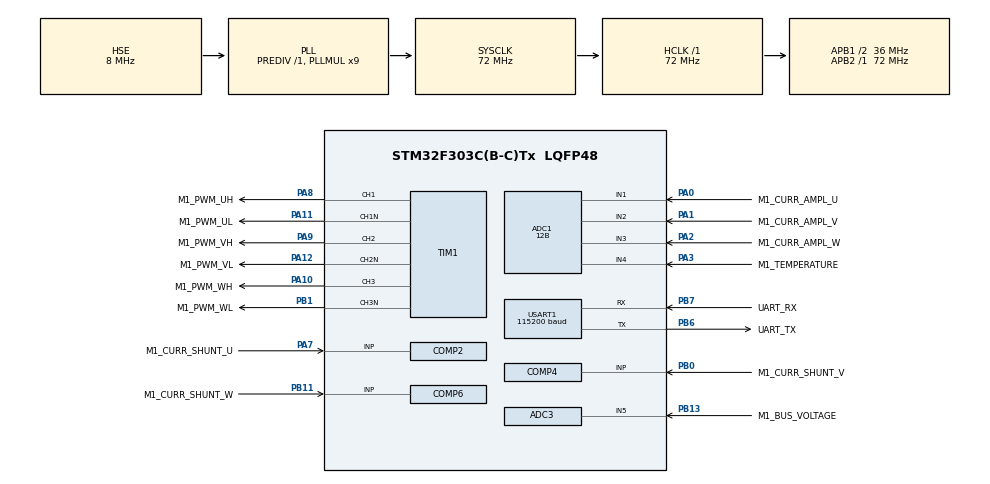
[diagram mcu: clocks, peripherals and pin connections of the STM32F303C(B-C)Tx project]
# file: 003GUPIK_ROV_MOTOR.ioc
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ADC1.Channel-1\#ChannelRegularConversion=ADC_CHANNEL_4
ADC1.ClockPrescaler=ADC_CLOCK_SYNC_PCLK_DIV1
ADC1.ContinuousConvMode=DISABLE
ADC1.DMAContinuousRequests=DISABLE
ADC1.DataAlign=ADC_DATAALIGN_LEFT
ADC1.DiscontinuousConvMode=DISABLE
ADC1.EOCSelection=ADC_EOC_SINGLE_CONV
ADC1.EnableAnalogWatchDog1=false
ADC1.EnableAnalogWatchDog2=false
ADC1.EnableAnalogWatchDog3=false
ADC1.EnableInjectedConversion=ENABLE
ADC1.EnableRegularConversion=ENABLE
ADC1.ExternalTrigConv=ADC_SOFTWARE_START
ADC1.ExternalTrigConvEdge=ADC_EXTERNALTRIGCONVEDGE_NONE
ADC1.ExternalTrigInjecConv=ADC_EXTERNALTRIGINJECCONV_T1_TRGO
ADC1.ExternalTrigInjecConvEdge=ADC_EXTERNALTRIGINJECCONV_EDGE_RISING
ADC1.InjNumberOfConversion=3
ADC1.InjectedChannel-1\#ChannelInjectedConversion=ADC_CHANNEL_1
ADC1.InjectedChannel-2\#ChannelInjectedConversion=ADC_CHANNEL_2
ADC1.InjectedChannel-3\#ChannelInjectedConversion=ADC_CHANNEL_3
ADC1.InjectedConvMode=None
ADC1.InjectedOffset-1\#ChannelInjectedConversion=0
ADC1.InjectedOffset-2\#ChannelInjectedConversion=0
ADC1.InjectedOffset-3\#ChannelInjectedConversion=0
ADC1.InjectedOffsetNumber-1\#ChannelInjectedConversion=ADC_OFFSET_NONE
ADC1.InjectedOffsetNumber-2\#ChannelInjectedConversion=ADC_OFFSET_NONE
ADC1.InjectedOffsetNumber-3\#ChannelInjectedConversion=ADC_OFFSET_NONE
ADC1.InjectedRank-1\#ChannelInjectedConversion=1
ADC1.InjectedRank-2\#ChannelInjectedConversion=2
ADC1.InjectedRank-3\#ChannelInjectedConversion=3
ADC1.InjectedSamplingTime-1\#ChannelInjectedConversion=ADC_SAMPLETIME_7CYCLES_5
ADC1.InjectedSamplingTime-2\#ChannelInjectedConversion=ADC_SAMPLETIME_7CYCLES_5
ADC1.InjectedSamplingTime-3\#ChannelInjectedConversion=ADC_SAMPLETIME_7CYCLES_5
ADC1.LowPowerAutoWait=DISABLE
ADC1.NbrOfConversion=1
ADC1.NbrOfConversionFlag=1
ADC1.Offset-1\#ChannelRegularConversion=0
ADC1.OffsetNumber-1\#ChannelRegularConversion=ADC_OFFSET_NONE
ADC1.Overrun=ADC_OVR_DATA_PRESERVED
ADC1.QueueInjectedContext=ENABLE
ADC1.Rank-1\#ChannelRegularConversion=1
ADC1.Resolution=ADC_RESOLUTION_12B
ADC1.SamplingTime-1\#ChannelRegularConversion=ADC_SAMPLETIME_19CYCLES_5
ADC1.ScanConvMode=ADC_SCAN_ENABLE
ADC1.master=1
ADC3.Channel-1\#ChannelRegularConversion=ADC_CHANNEL_5
ADC3.ClockPrescaler=ADC_CLOCK_SYNC_PCLK_DIV1
ADC3.ContinuousConvMode=DISABLE
ADC3.DMAContinuousRequests=DISABLE
ADC3.DataAlign=ADC_DATAALIGN_LEFT
ADC3.DiscontinuousConvMode=DISABLE
ADC3.EOCSelection=ADC_EOC_SINGLE_CONV
ADC3.EnableAnalogWatchDog1=false
ADC3.EnableAnalogWatchDog2=false
ADC3.EnableAnalogWatchDog3=false
ADC3.EnableRegularConversion=ENABLE
ADC3.ExternalTrigConv=ADC_SOFTWARE_START
ADC3.ExternalTrigConvEdge=ADC_EXTERNALTRIGCONVEDGE_NONE
ADC3.LowPowerAutoWait=DISABLE
ADC3.NbrOfConversion=1
ADC3.NbrOfConversionFlag=1
ADC3.Offset-1\#ChannelRegularConversion=0
ADC3.OffsetNumber-1\#ChannelRegularConversion=ADC_OFFSET_NONE
ADC3.Overrun=ADC_OVR_DATA_PRESERVED
ADC3.Rank-1\#ChannelRegularConversion=1
ADC3.Resolution=ADC_RESOLUTION_12B
ADC3.SamplingTime-1\#ChannelRegularConversion=ADC_SAMPLETIME_19CYCLES_5
ADC3.ScanConvMode=ADC_SCAN_DISABLE
ADC3.master=1
COMP2.InvertingInput=COMP_INVERTINGINPUT_1_2VREFINT
COMP2.Output=COMP_OUTPUT_TIM1BKIN2
COMP4.InvertingInput=COMP_INVERTINGINPUT_1_2VREFINT
COMP4.Output=COMP_OUTPUT_TIM1BKIN2
COMP6.InvertingInput=COMP_INVERTINGINPUT_1_2VREFINT
COMP6.Output=COMP_OUTPUT_TIM1BKIN2
ExtraMW=MotorControl
ExtraMW.MotorControl.Config=MotorControl
ExtraMW.MotorControl.Mode=MotorControl
ExtraMW.MotorControl.Root=MCSDK_v5.4.3/MotorControl
ExtraMW.MotorControl.Template=templates
Mcu.Family=STM32F3
Mcu.Name=STM32F303C(B-C)Tx
Mcu.Package=LQFP48
MotorControl.ADC_1_PERIPH=ADC1
MotorControl.ADC_2_PERIPH=ADC2
MotorControl.ADC_AHBPERIPH=RCC_AHBPeriph_ADC12
MotorControl.ADC_CLOCK_WB_DIV=1
MotorControl.ADC_CLOCK_WB_FREQ=72
MotorControl.ADC_PERIPH=ADC1
MotorControl.ADC_REFERENCE_VOLTAGE=3.30
MotorControl.ALIGNMENT_ANGLE_DEG=90
MotorControl.ALIGNMENT_DURATION=700
MotorControl.AMPLIFICATION_GAIN=4.39
MotorControl.ANGC={0,0,0,0,0,0,0,0}
MotorControl.BEMF_CONSISTENCY_GAIN=64
MotorControl.BEMF_CONSISTENCY_TOL=64
MotorControl.BKIN1_FILTER=0
MotorControl.BKIN2_FILTER=3
MotorControl.BKIN2_MODE=INT_MODE
MotorControl.BKIN_MODE=NONE
MotorControl.BOARD=STEVAL-ESC001V1
MotorControl.BRKIN2_GPIO_AF=GPIO_AF_2
MotorControl.BRKIN_GPIO_AF=GPIO_AF_12
MotorControl.BUS_VOLTAGE_READING=true
MotorControl.CCMRAM_ENABLED=false
MotorControl.CLOCK_FREQUENCY=CPU_CLK_72_MHZ
MotorControl.CLOCK_SOURCE=EXTERNAL
MotorControl.CONSTANT1_D=99880
MotorControl.CONSTANT1_Q=99880
MotorControl.CONSTANT2_QD=15364
MotorControl.CORD_BEMF_CONSISTENCY_GAIN=64
MotorControl.CORD_BEMF_CONSISTENCY_TOL=64
MotorControl.CORD_F1=16384
MotorControl.CORD_F2=8192
MotorControl.CORD_FIFO_DEPTH_01HZ=64
MotorControl.CORD_FIFO_DEPTH_DPP=64
MotorControl.CORD_GAIN1=-21521
MotorControl.CORD_GAIN2=23711
MotorControl.CORD_MAX_ACCEL_DPPP=103
MotorControl.CORD_MEAS_ERRORS_BEFORE_FAULTS=3
MotorControl.CORD_VARIANCE_THRESHOLD=4
MotorControl.CPU_CLK_72_MHZ=true
MotorControl.CTRBDID=10013
MotorControl.CUBE_MX_VER=5.5.0
MotorControl.CURRENT_READING_TOPOLOGY=THREE_SHUNT
MotorControl.CURR_SAMPLING_TIME=7
MotorControl.DAC_EMULATED=false
MotorControl.DAC_FUNCTIONALITY=false
MotorControl.DAC_TIMER_CH1_GPIO_PIN=LL_GPIO_PIN_0
MotorControl.DAC_TIMER_CH1_GPIO_PORT=GPIOA
MotorControl.DAC_TIMER_CH2_GPIO_PIN=LL_GPIO_PIN_0
MotorControl.DAC_TIMER_CH2_GPIO_PORT=GPIOA
MotorControl.DAC_TIMER_SELECTION=TIM3
MotorControl.DC_CURRENT_RS_MEAS=5.00
MotorControl.DEBUG_DAC_CH1=false
MotorControl.DEBUG_DAC_CH2=false
MotorControl.DEFAULT_CONTROL_MODE=STC_SPEED_MODE
MotorControl.DEFAULT_DAC_CHANNEL_1=MC_PROTOCOL_REG_DAC_USER1
MotorControl.DEFAULT_DAC_CHANNEL_2=MC_PROTOCOL_REG_I_B
MotorControl.DEFAULT_DAC_MOTOR=0
MotorControl.DEFAULT_FLUX_COMPONENT=0
MotorControl.DEFAULT_TARGET_SPEED_RPM=1334
MotorControl.DEFAULT_TORQUE_COMPONENT=0
MotorControl.DISSIPATIVE_BRAKE_POLARITY=DOUT_ACTIVE_HIGH
MotorControl.DRIVES_NUMBER_SELECTION=SINGLEDRIVE
MotorControl.EMERGENCY2_STOP_GPIO_PIN=LL_GPIO_PIN_11
MotorControl.EMERGENCY2_STOP_GPIO_PORT=GPIOA
MotorControl.EMERGENCY_STOP_GPIO_PIN=LL_GPIO_PIN_11
MotorControl.EMERGENCY_STOP_GPIO_PORT=GPIOA
MotorControl.ENABLE_SL_ALGO_FROM_PHASE=2
MotorControl.ENCODER_AVAILABLE=false
MotorControl.ENCODER_PPR=400
MotorControl.ENC_AVERAGING_FIFO_DEPTH=16
MotorControl.ENC_A_GPIO_PIN=LL_GPIO_PIN_0
MotorControl.ENC_A_GPIO_PORT=GPIOA
MotorControl.ENC_B_GPIO_PIN=LL_GPIO_PIN_1
MotorControl.ENC_B_GPIO_PORT=GPIOA
MotorControl.ENC_ICx_FILTER=50
MotorControl.ENC_INVERT_SPEED=false
MotorControl.ENC_MEAS_ERRORS_BEFORE_FAULTS=3
MotorControl.ENC_TIMER_REMAPPING=NO_REMAP_TIM2
MotorControl.ENC_TIMER_SELECTION=ENC_TIM2
MotorControl.ENC_USE_CH3=false
MotorControl.EXT_CLK_8_MHZ=true
MotorControl.EXT_CLOCK_FREQUENCY=EXT_CLK_8_MHZ
MotorControl.F1=16384
MotorControl.F2=8192
MotorControl.FEEDBACK_NET_FILTERING=false
MotorControl.FEED_FORWARD_CURRENT_REG_ENABLING=false
MotorControl.FINAL_I_ALIGNMENT=1700
MotorControl.FLUX_WEAKENING_ENABLING=false
MotorControl.FW_KIDIV=32768
MotorControl.FW_KI_GAIN=5000
MotorControl.FW_KPDIV=32768
MotorControl.FW_KP_GAIN=3000
MotorControl.FW_VOLTAGE_REF=985
MotorControl.GAIN1=-21521
MotorControl.GAIN2=23711
MotorControl.H1_GPIO_PIN=LL_GPIO_PIN_0
MotorControl.H1_GPIO_PORT=GPIOA
MotorControl.H2_GPIO_PIN=LL_GPIO_PIN_1
MotorControl.H2_GPIO_PORT=GPIOA
MotorControl.H3_GPIO_PIN=LL_GPIO_PIN_2
MotorControl.H3_GPIO_PORT=GPIOA
MotorControl.HALL_AVERAGING_FIFO_DEPTH=6
MotorControl.HALL_ICx_FILTER=94
MotorControl.HALL_MEAS_ERRORS_BEFORE_FAULTS=3
MotorControl.HALL_MTPA=false
MotorControl.HALL_PHASE_SHIFT=300
MotorControl.HALL_SENSORS_AVAILABLE=false
MotorControl.HALL_SENSORS_PLACEMENT=DEGREES_120
MotorControl.HALL_TIMER_REMAPPING=NO_REMAP_TIM2
MotorControl.HALL_TIMER_SELECTION=HALL_TIM2
MotorControl.HFI_AMPLITUDE=25
MotorControl.HFI_DC_0_COEFF=0.00146
MotorControl.HFI_DC_1_COEFF=0.002921
MotorControl.HFI_DC_2_COEFF=0.00146
MotorControl.HFI_DC_3_COEFF=1.889033
MotorControl.HFI_DC_4_COEFF=-0.894874
MotorControl.HFI_DEBUG_MODE=false
MotorControl.HFI_FREQUENCY=400
MotorControl.HFI_HIFRAMPLSCAN=25
MotorControl.HFI_HP_ID_0_COEFF=0.920407
MotorControl.HFI_HP_ID_1_COEFF=-1.840814
MotorControl.HFI_HP_ID_2_COEFF=0.920407
MotorControl.HFI_HP_ID_3_COEFF=1.834469
MotorControl.HFI_HP_ID_4_COEFF=-0.847159
MotorControl.HFI_IDH_DELAY=32400
MotorControl.HFI_LOCKFREQ=44
MotorControl.HFI_LP_ID_0_COEFF=0.010248
MotorControl.HFI_LP_ID_1_COEFF=0.020497
MotorControl.HFI_LP_ID_2_COEFF=0.010248
MotorControl.HFI_LP_ID_3_COEFF=1.693906
MotorControl.HFI_LP_ID_4_COEFF=-0.734899
MotorControl.HFI_MAXANGLEDIFF=3640
MotorControl.HFI_MINIMUM_SPEED_RPM=402
MotorControl.HFI_NOTCH_IQD_0_COEFF=0.959976
MotorControl.HFI_NOTCH_IQD_1_COEFF=-1.893066
MotorControl.HFI_NOTCH_IQD_2_COEFF=0.959976
MotorControl.HFI_NOTCH_IQD_3_COEFF=1.893066
MotorControl.HFI_NOTCH_IQD_4_COEFF=-0.919953
MotorControl.HFI_NSDETPOINTSSKIP=10
MotorControl.HFI_NSMAXDETPOINTS=20
MotorControl.HFI_NS_MIN_SAT_DIFF=0
MotorControl.HFI_PID_KIDIV=32768
MotorControl.HFI_PID_KI_DEFAULT=400
MotorControl.HFI_PID_KPDIV=16384
MotorControl.HFI_PID_KP_DEFAULT=800
MotorControl.HFI_PLL_KI_DEFAULT=0.00400
MotorControl.HFI_PLL_KP_DEFAULT=0.00060
MotorControl.HFI_RESTARTTIMESEC=0.1
MotorControl.HFI_RESTART_RPM_TH=(((HFI_STO_RPM_TH)+(STO_HFI_RPM_TH))/2)
MotorControl.HFI_REVERT_DIRECTION=true
MotorControl.HFI_SCANROTATIONSNO=3
MotorControl.HFI_SPD_BUFFER_DEPTH_01HZ=64
MotorControl.HFI_STEPANGLE=3640
MotorControl.HFI_STO_RPM_TH=OBS_MINIMUM_SPEED_RPM
MotorControl.HFI_WAITAFTERNS2=4
MotorControl.HFI_WAITBEFORESN=6
MotorControl.HFI_WAITSYNCH=20
MotorControl.HFI_WAITTRACK=20
MotorControl.HIGH_SIDE_BRAKE_STATE=false
MotorControl.HIGH_SIDE_IDLE_STATE=false
MotorControl.HW_COMPLEMENTED_LOW_SIDE=false
MotorControl.HW_DEAD_TIME_NS=500
MotorControl.HW_OV_CURRENT_PROT_BYPASS=false
MotorControl.ID_DEMAG=-4359
MotorControl.INRUSH_CURRLIMIT_AT_POWER_ON=true
MotorControl.INRUSH_CURRLIMIT_CHANGE_AFTER_MS=1000
MotorControl.INRUSH_CURRLIMIT_ENABLING=false
MotorControl.INRUSH_CURRLIMIT_GPIO_PIN=LL_GPIO_PIN_4
MotorControl.INRUSH_CURRLIMIT_GPIO_PORT=GPIOD
MotorControl.INRUSH_CURR_LIMITER_POLARITY=DOUT_ACTIVE_HIGH
MotorControl.INTERNAL_OVERCURRENTPROTECTION=true
MotorControl.INTERNAL_OVERVOLTAGEPROTECTION=false
MotorControl.IQMAX=4359
MotorControl.LCD_JOYSTICK_FUNCTIONALITY=false
MotorControl.LCD_MODE=LCD_FULL
MotorControl.LDLQ_RATIO=1.000
MotorControl.LOW_SIDE_BRAKE_STATE=false
MotorControl.LOW_SIDE_IDLE_STATE=false
MotorControl.LOW_SIDE_SIGNALS_ENABLING=LS_PWM_TIMER
MotorControl.LS=0.000059
MotorControl.MAX_APPLICATION_SPEED=3588
MotorControl.MAX_MODULATION_95_PER_CENT=true
MotorControl.MAX_MODULATION_INDEX=MAX_MODULATION_95_PER_CENT
MotorControl.MCU=STM32F303CB
MotorControl.MCU_TYPE=STM32F303xB
MotorControl.MC_WORKBENCH_VERSION=5.4.3.19514
MotorControl.MEAS_ERRORS_BEFORE_FAULTS=3
MotorControl.MIN_APPLICATION_SPEED=0
MotorControl.MOTOR_MAX_SPEED_RPM=3588
MotorControl.MOTOR_TYPE=PMSM
MotorControl.MOTOR_VOLTAGE_CONSTANT=2.1
MotorControl.MTPA_ENABLING=false
MotorControl.NB_CONSECUTIVE_TESTS=2
MotorControl.NOMINAL_BUS_VOLTAGE_V=11
MotorControl.NOMINAL_CURRENT=4359
MotorControl.OBS_MEAS_ERRORS_BEFORE_FAULTS=3
MotorControl.OBS_MINIMUM_SPEED_RPM=1334
MotorControl.OCPA_INVERTINGINPUT=COMPX_InvertingInput_VREF_1_2
MotorControl.OCPA_INVERTINGINPUT_GPIO_PIN=LL_GPIO_PIN_4
MotorControl.OCPA_INVERTINGINPUT_GPIO_PORT=GPIOA
MotorControl.OCPA_INVERTINGINPUT_MODE=INT_MODE
MotorControl.OCPA_NONINVERTINGINPUT=COMP2_NonInvertingInput_PA7
MotorControl.OCPA_NONINVERTINGINPUT_GPIO_PIN=LL_GPIO_PIN_7
MotorControl.OCPA_NONINVERTINGINPUT_GPIO_PORT=GPIOA
MotorControl.OCPA_OUTPUT=COMP_Output_TIM1BKIN2
MotorControl.OCPA_OUTPUTPOL=COMP_OutputPol_NonInverted
MotorControl.OCPA_OUTPUT_GPIO_AF=GPIO_AF_8
MotorControl.OCPA_OUTPUT_GPIO_PIN=LL_GPIO_PIN_2
MotorControl.OCPA_OUTPUT_GPIO_PORT=GPIOA
MotorControl.OCPA_OUTPUT_MODE=INT_MODE
MotorControl.OCPA_SELECTION=COMP2
MotorControl.OCPB_INVERTINGINPUT=COMPX_InvertingInput_VREF_1_2
MotorControl.OCPB_INVERTINGINPUT_GPIO_PIN=LL_GPIO_PIN_4
MotorControl.OCPB_INVERTINGINPUT_GPIO_PORT=GPIOA
MotorControl.OCPB_INVERTINGINPUT_MODE=INT_MODE
MotorControl.OCPB_NONINVERTINGINPUT=COMP4_NonInvertingInput_PB0
MotorControl.OCPB_NONINVERTINGINPUT_GPIO_PIN=LL_GPIO_PIN_0
MotorControl.OCPB_NONINVERTINGINPUT_GPIO_PORT=GPIOB
MotorControl.OCPB_OUTPUT=COMP_Output_TIM1BKIN2
MotorControl.OCPB_OUTPUTPOL=COMP_OutputPol_NonInverted
MotorControl.OCPB_OUTPUT_GPIO_AF=GPIO_AF_8
MotorControl.OCPB_OUTPUT_GPIO_PIN=LL_GPIO_PIN_1
MotorControl.OCPB_OUTPUT_GPIO_PORT=GPIOB
MotorControl.OCPB_OUTPUT_MODE=INT_MODE
MotorControl.OCPB_SELECTION=COMP4
MotorControl.OCPC_INVERTINGINPUT=COMPX_InvertingInput_VREF_1_2
MotorControl.OCPC_INVERTINGINPUT_GPIO_PIN=LL_GPIO_PIN_4
MotorControl.OCPC_INVERTINGINPUT_GPIO_PORT=GPIOA
MotorControl.OCPC_INVERTINGINPUT_MODE=INT_MODE
MotorControl.OCPC_NONINVERTINGINPUT=COMP6_NonInvertingInput_PB11
MotorControl.OCPC_NONINVERTINGINPUT_GPIO_PIN=LL_GPIO_PIN_11
MotorControl.OCPC_NONINVERTINGINPUT_GPIO_PORT=GPIOB
MotorControl.OCPC_OUTPUT=COMP_Output_TIM1BKIN2
MotorControl.OCPC_OUTPUTPOL=COMP_OutputPol_NonInverted
MotorControl.OCPC_OUTPUT_GPIO_AF=GPIO_AF_8
MotorControl.OCPC_OUTPUT_GPIO_PIN=LL_GPIO_PIN_10
MotorControl.OCPC_OUTPUT_GPIO_PORT=GPIOA
MotorControl.OCPC_OUTPUT_MODE=INT_MODE
MotorControl.OCPC_SELECTION=COMP6
MotorControl.OCPREF=11915
MotorControl.OCP_COMP_THRESHOLD=0.50
MotorControl.OCP_FILTER=COMP_Mode_HighSpeed
MotorControl.OCP_INVERTINGINPUT=COMPX_InvertingInput_VREF_1_2
MotorControl.OCP_INVERTINGINPUT_GPIO_PIN=LL_GPIO_PIN_4
MotorControl.OCP_INVERTINGINPUT_GPIO_PORT=GPIOA
MotorControl.OCP_INVERTINGINPUT_MODE=INT_MODE
MotorControl.OCP_NONINVERTINGINPUT=COMP2_NonInvertingInput_PA7
MotorControl.OCP_NONINVERTINGINPUT_GPIO_PIN=LL_GPIO_PIN_7
MotorControl.OCP_NONINVERTINGINPUT_GPIO_PORT=GPIOA
MotorControl.OCP_OUTPUT=COMP_Output_TIM1BKIN2
MotorControl.OCP_OUTPUTPOL=COMP_OutputPol_NonInverted
MotorControl.OCP_OUTPUT_GPIO_AF=GPIO_AF_8
MotorControl.OCP_OUTPUT_GPIO_PIN=LL_GPIO_PIN_2
MotorControl.OCP_OUTPUT_GPIO_PORT=GPIOA
MotorControl.OCP_OUTPUT_MODE=INT_MODE
MotorControl.OCP_SELECTION=COMP2
MotorControl.OFST={0,0,0,0,0,0,0,0}
MotorControl.ON_OVER_VOLTAGE=TURN_OFF_PWM
MotorControl.OPAMP1_INVERTINGINPUT=OPAMP1_InvertingInput_PA3
MotorControl.OPAMP1_INVERTINGINPUT_GPIO_PIN=LL_GPIO_PIN_3
MotorControl.OPAMP1_INVERTINGINPUT_GPIO_PORT=GPIOA
MotorControl.OPAMP1_INVERTINGINPUT_MODE=EXT_MODE
MotorControl.OPAMP1_NONINVERTINGINPUT_PHA=OPAMP1_NonInvertingInput_PA1
MotorControl.OPAMP1_NONINVERTINGINPUT_PHA_GPIO_PIN=LL_GPIO_PIN_1
MotorControl.OPAMP1_NONINVERTINGINPUT_PHA_GPIO_PORT=GPIOA
MotorControl.OPAMP1_NONINVERTINGINPUT_PHB=OPAMP1_NonInvertingInput_PA7
MotorControl.OPAMP1_NONINVERTINGINPUT_PHB_GPIO_PIN=LL_GPIO_PIN_7
MotorControl.OPAMP1_NONINVERTINGINPUT_PHB_GPIO_PORT=GPIOA
MotorControl.OPAMP1_OUT_GPIO_PIN=LL_GPIO_PIN_2
MotorControl.OPAMP1_OUT_GPIO_PORT=GPIOA
MotorControl.OPAMP1_SELECTION=OPAMP1
MotorControl.OPAMP2_INVERTINGINPUT=OPAMP2_InvertingInput_PA5
MotorControl.OPAMP2_INVERTINGINPUT_GPIO_PIN=LL_GPIO_PIN_5
MotorControl.OPAMP2_INVERTINGINPUT_GPIO_PORT=GPIOA
MotorControl.OPAMP2_INVERTINGINPUT_MODE=EXT_MODE
MotorControl.OPAMP2_NONINVERTINGINPUT_PHA=OPAMP2_NonInvertingInput_PB0
MotorControl.OPAMP2_NONINVERTINGINPUT_PHA_GPIO_PIN=LL_GPIO_PIN_0
MotorControl.OPAMP2_NONINVERTINGINPUT_PHA_GPIO_PORT=GPIOB
MotorControl.OPAMP2_NONINVERTINGINPUT_PHB=OPAMP2_NonInvertingInput_PA7
MotorControl.OPAMP2_NONINVERTINGINPUT_PHB_GPIO_PIN=LL_GPIO_PIN_7
MotorControl.OPAMP2_NONINVERTINGINPUT_PHB_GPIO_PORT=GPIOA
MotorControl.OPAMP2_NONINVERTINGINPUT_PHC=OPAMP2_NonInvertingInput_PB0
MotorControl.OPAMP2_NONINVERTINGINPUT_PHC_GPIO_PIN=LL_GPIO_PIN_0
MotorControl.OPAMP2_NONINVERTINGINPUT_PHC_GPIO_PORT=GPIOB
MotorControl.OPAMP2_OUT_GPIO_PIN=LL_GPIO_PIN_6
MotorControl.OPAMP2_OUT_GPIO_PORT=GPIOA
MotorControl.OPAMP2_SELECTION=OPAMP2
MotorControl.OPAMP3_INVERTINGINPUT=OPAMP1_InvertingInput_PA0
MotorControl.OPAMP3_INVERTINGINPUT_GPIO_PIN=LL_GPIO_PIN_0
MotorControl.OPAMP3_INVERTINGINPUT_GPIO_PORT=GPIOA
MotorControl.OPAMP3_INVERTINGINPUT_MODE=EXT_MODE
MotorControl.OPAMP3_SELECTION=OPAMP1
MotorControl.OPAMP_INVERTINGINPUT=OPAMP1_InvertingInput_PA3
MotorControl.OPAMP_INVERTINGINPUT_GPIO_PIN=LL_GPIO_PIN_3
MotorControl.OPAMP_INVERTINGINPUT_GPIO_PORT=GPIOA
MotorControl.OPAMP_INVERTINGINPUT_MODE=EXT_MODE
MotorControl.OPAMP_NONINVERTINGINPUT=OPAMP1_NonInvertingInput_PA7
MotorControl.OPAMP_NONINVERTINGINPUT_GPIO_PIN=LL_GPIO_PIN_7
MotorControl.OPAMP_NONINVERTINGINPUT_GPIO_PORT=GPIOA
MotorControl.OPAMP_OUT_GPIO_PIN=LL_GPIO_PIN_2
MotorControl.OPAMP_OUT_GPIO_PORT=GPIOA
MotorControl.OPAMP_PGACONNECT=OPAMP1_PGAConnect_PA3
MotorControl.OPAMP_PGAGAIN=OPAMP_OPAMP_PGAGain_2
MotorControl.OPAMP_SELECTION=OPAMP1
MotorControl.OPAMP_TYPE_GAIN=EXTERNAL
MotorControl.OPEN_LOOP_FOC=false
MotorControl.OPEN_LOOP_K=44
MotorControl.OPEN_LOOP_OFF=4400
MotorControl.OPEN_LOOP_SPEED_RAMP_DURATION_MS=1000
MotorControl.OPEN_LOOP_SPEED_RPM=100
MotorControl.OPEN_LOOP_VF=false
MotorControl.OPEN_LOOP_VOLTAGE_d=6000
MotorControl.OVERCURR_FEEDBACK_POLARITY=EMSTOP2_ACTIVE_LOW
MotorControl.OVERCURR_PROTECTION_HW_DISABLING=DOUT_ACTIVE_HIGH
MotorControl.OVPREF=23830
MotorControl.OVP_FILTER=COMP_Mode_HighSpeed
MotorControl.OVP_INVERTINGINPUT=COMPX_InvertingInput_VREF
MotorControl.OVP_INVERTINGINPUT_GPIO_PIN=LL_GPIO_PIN_4
MotorControl.OVP_INVERTINGINPUT_GPIO_PORT=GPIOA
MotorControl.OVP_INVERTINGINPUT_MODE=INT_MODE
MotorControl.OVP_NONINVERTINGINPUT=COMP2_NonInvertingInput_PA7
MotorControl.OVP_NONINVERTINGINPUT_GPIO_PIN=LL_GPIO_PIN_7
MotorControl.OVP_NONINVERTINGINPUT_GPIO_PORT=GPIOA
MotorControl.OVP_OUTPUT=COMP_Output_TIM1BKIN
MotorControl.OVP_OUTPUTPOL=COMP_OutputPol_NonInverted
MotorControl.OVP_OUTPUT_GPIO_AF=GPIO_AF_8
MotorControl.OVP_OUTPUT_GPIO_PIN=LL_GPIO_PIN_2
MotorControl.OVP_OUTPUT_GPIO_PORT=GPIOA
MotorControl.OVP_OUTPUT_MODE=INT_MODE
MotorControl.OVP_SELECTION=COMP2
MotorControl.OV_CURR_BYPASS_GPIO_PIN=LL_GPIO_PIN_5
MotorControl.OV_CURR_BYPASS_GPIO_PORT=GPIOD
MotorControl.OV_TEMPERATURE_HYSTERESIS_C=10
MotorControl.OV_TEMPERATURE_PROT_ENABLING=true
MotorControl.OV_TEMPERATURE_THRESHOLD_C=110
MotorControl.OV_VOLTAGE_PROT_ENABLING=true
MotorControl.OV_VOLTAGE_THRESHOLD_V=22
MotorControl.PHASE1_DURATION=1000
MotorControl.PHASE1_FINAL_CURRENT=2179
MotorControl.PHASE1_FINAL_SPEED_RPM=0
MotorControl.PHASE2_DURATION=2964
MotorControl.PHASE2_FINAL_CURRENT=4359
MotorControl.PHASE2_FINAL_SPEED_RPM=1482
MotorControl.PHASE3_DURATION=0
MotorControl.PHASE3_FINAL_CURRENT=4359
MotorControl.PHASE3_FINAL_SPEED_RPM=1482
MotorControl.PHASE4_DURATION=0
MotorControl.PHASE4_FINAL_CURRENT=4359
MotorControl.PHASE4_FINAL_SPEED_RPM=1482
MotorControl.PHASE5_DURATION=0
MotorControl.PHASE5_FINAL_CURRENT=4359
MotorControl.PHASE5_FINAL_SPEED_RPM=1482
MotorControl.PHASE_CURRENTS_ADC=ADC1_2
MotorControl.PHASE_CURRENTS_CHANNEL=ADC_CHANNEL_9
MotorControl.PHASE_CURRENTS_GPIO_PIN=LL_GPIO_PIN_3
MotorControl.PHASE_CURRENTS_GPIO_PORT=GPIOC
MotorControl.PHASE_UH_GPIO_AF=GPIO_AF_6
MotorControl.PHASE_UH_GPIO_PIN=LL_GPIO_PIN_8
MotorControl.PHASE_UH_GPIO_PORT=GPIOA
MotorControl.PHASE_UH_POLARITY=H_ACTIVE_HIGH
MotorControl.PHASE_UL_GPIO_AF=GPIO_AF_6
MotorControl.PHASE_UL_GPIO_PIN=LL_GPIO_PIN_11
MotorControl.PHASE_UL_GPIO_PORT=GPIOA
MotorControl.PHASE_UL_POLARITY=L_ACTIVE_LOW
MotorControl.PHASE_U_CURR_ADC=ADC1
MotorControl.PHASE_U_CURR_CHANNEL=ADC_CHANNEL_1
MotorControl.PHASE_U_GPIO_PIN=LL_GPIO_PIN_0
MotorControl.PHASE_U_GPIO_PORT=GPIOA
MotorControl.PHASE_VH_GPIO_AF=GPIO_AF_6
MotorControl.PHASE_VH_GPIO_PIN=LL_GPIO_PIN_9
MotorControl.PHASE_VH_GPIO_PORT=GPIOA
MotorControl.PHASE_VH_POLARITY=H_ACTIVE_HIGH
MotorControl.PHASE_VL_GPIO_AF=GPIO_AF_6
MotorControl.PHASE_VL_GPIO_PIN=LL_GPIO_PIN_12
MotorControl.PHASE_VL_GPIO_PORT=GPIOA
MotorControl.PHASE_VL_POLARITY=L_ACTIVE_LOW
MotorControl.PHASE_V_CURR_ADC=ADC1
MotorControl.PHASE_V_CURR_CHANNEL=ADC_CHANNEL_2
MotorControl.PHASE_V_GPIO_PIN=LL_GPIO_PIN_1
MotorControl.PHASE_V_GPIO_PORT=GPIOA
MotorControl.PHASE_WH_GPIO_AF=GPIO_AF_6
MotorControl.PHASE_WH_GPIO_PIN=LL_GPIO_PIN_10
MotorControl.PHASE_WH_GPIO_PORT=GPIOA
MotorControl.PHASE_WH_POLARITY=H_ACTIVE_HIGH
MotorControl.PHASE_WL_GPIO_AF=GPIO_AF_6
MotorControl.PHASE_WL_GPIO_PIN=LL_GPIO_PIN_1
MotorControl.PHASE_WL_GPIO_PORT=GPIOB
MotorControl.PHASE_WL_POLARITY=L_ACTIVE_LOW
MotorControl.PHASE_W_CURR_ADC=ADC1
MotorControl.PHASE_W_CURR_CHANNEL=ADC_CHANNEL_3
MotorControl.PHASE_W_GPIO_PIN=LL_GPIO_PIN_2
MotorControl.PHASE_W_GPIO_PORT=GPIOA
MotorControl.PID_FLUX_KD_DEFAULT=100
MotorControl.PID_FLUX_KI_DEFAULT=2463
MotorControl.PID_FLUX_KP_DEFAULT=2477
MotorControl.PID_SPEED_KD_DEFAULT=0
MotorControl.PID_SPEED_KI_DEFAULT=36
MotorControl.PID_SPEED_KP_DEFAULT=2948
MotorControl.PID_TORQUE_KD_DEFAULT=100
MotorControl.PID_TORQUE_KI_DEFAULT=2463
MotorControl.PID_TORQUE_KP_DEFAULT=2477
MotorControl.PLL_KI_GAIN=36
MotorControl.PLL_KP_GAIN=764
MotorControl.POLE_PAIR_NUM=6
MotorControl.POSITION_CTRL_ENABLING=false
MotorControl.PWBDID=10013
MotorControl.PWM_FREQUENCY=30000
MotorControl.PWM_TIMER_REMAPPING=PWM_PARTIAL_REMAP
MotorControl.PWM_TIMER_SELECTION=PWM_TIM1
MotorControl.REGCONVADC=ADC3
MotorControl.REGULATION_EXECUTION_RATE=2
MotorControl.RS=0.22
MotorControl.RSHUNT=0.0100
MotorControl.RTOS=NONE
MotorControl.R_BRAKE_GPIO_PIN=LL_GPIO_PIN_5
MotorControl.R_BRAKE_GPIO_PORT=GPIOD
MotorControl.R_BRAKE_SWITCH_OFF_THRES_V=18
MotorControl.SEGDIV=0
MotorControl.SERIAL_COMMUNICATION=true
MotorControl.SERIAL_COM_CHANNEL1=MC_PROTOCOL_REG_I_A
MotorControl.SERIAL_COM_CHANNEL2=MC_PROTOCOL_REG_I_A
MotorControl.SERIAL_COM_MODE=COM_BIDIRECTIONAL
MotorControl.SERIAL_COM_MOTOR=0
MotorControl.SHARED_SIGNAL_ENABLE=false
MotorControl.SINGLEDRIVE=true
MotorControl.SPD_DIFFERENTIAL_TERM_ENABLING=false
MotorControl.SPEED_BAND_LOWER_LIMIT=15
MotorControl.SPEED_BAND_UPPER_LIMIT=17
MotorControl.SPEED_FEEDBACK_CHECK=true
MotorControl.SPEED_LOOP_FREQUENCY_HZ=1000
MotorControl.SPEED_SENSOR_SELECTION=STATE_OBSERVER_PLL
MotorControl.SP_KDDIV=16
MotorControl.SP_KIDIV=16384
MotorControl.SP_KPDIV=1024
MotorControl.STARTING_ANGLE_DEG=0
MotorControl.START_STOP_BTN=false
MotorControl.START_STOP_GPIO_PIN=LL_GPIO_PIN_13
MotorControl.START_STOP_GPIO_PORT=GPIOC
MotorControl.START_STOP_POLARITY=DIN_ACTIVE_LOW
MotorControl.START_STOP_POLARITY_EDGE=GPIO_NOPULL
MotorControl.STATE_OBSERVER_PLL=true
MotorControl.STM32F303xB=true
MotorControl.STO_FIFO_DEPTH_01HZ=64
MotorControl.STO_FIFO_DEPTH_DPP=64
MotorControl.STO_HFI_RPM_TH=460
MotorControl.SW_DEADTIME_NS=800
MotorControl.SW_OV_CURRENT_PROT_ENABLING=true
MotorControl.T0_C=25
MotorControl.TEMPERATURE_READING=true
MotorControl.TEMP_ADC_SAMPLING_TIME=19
MotorControl.TEMP_FDBK_ADC=ADC1
MotorControl.TEMP_FDBK_CHANNEL=ADC_CHANNEL_4
MotorControl.TEMP_FDBK_GPIO_PIN=LL_GPIO_PIN_3
MotorControl.TEMP_FDBK_GPIO_PORT=GPIOA
MotorControl.TFDIFFERENTIAL_TERM_ENABLING=false
MotorControl.TF_KDDIV=8192
MotorControl.TF_KIDIV=4096
MotorControl.TF_KPDIV=1024
MotorControl.THREE_SHUNT=true
MotorControl.TNOISE_NS=1000
MotorControl.TRANSITION_DURATION=25
MotorControl.TRISE_NS=1000
MotorControl.T_MAX=110
MotorControl.UD_VOLTAGE_THRESHOLD_V=8
MotorControl.USART_REMAPPING=NO_REMAP_USART1
MotorControl.USART_RX_GPIO_PIN=LL_GPIO_PIN_7
MotorControl.USART_RX_GPIO_PORT=GPIOB
MotorControl.USART_SELECTION=USE_USART1
MotorControl.USART_SPEED=115200
MotorControl.USART_TX_GPIO_PIN=LL_GPIO_PIN_6
MotorControl.USART_TX_GPIO_PORT=GPIOB
MotorControl.USE_3OPAMPS=false
MotorControl.USE_INTERNAL_OPAMP=false
MotorControl.UV_VOLTAGE_PROT_ENABLING=true
MotorControl.V0_V=1.055
MotorControl.VARIANCE_THRESHOLD=0.1
MotorControl.VBUS_ADC=ADC3
MotorControl.VBUS_ADC_SAMPLING_TIME=19
MotorControl.VBUS_CHANNEL=ADC_CHANNEL_5
MotorControl.VBUS_GPIO_PIN=LL_GPIO_PIN_13
MotorControl.VBUS_GPIO_PORT=GPIOB
MotorControl.VBUS_PARTITIONING_FACTOR=0.0963
MotorControl.WB_to_Mx_template_version=19-11-14
MotorControl.WB_to_Mx_version=1.0.6
MotorControl.dV_dT=0.023
NVIC.ADC1_2_IRQn=true\:2\:0\:true\:true\:false\:3\:true\:true
NVIC.PriorityGroup=NVIC_PRIORITYGROUP_3
NVIC.TIM1_BRK_TIM15_IRQn=true\:4\:1\:true\:true\:false\:1\:true\:true
NVIC.TIM1_TRG_COM_TIM17_IRQn=true\:0\:0\:false\:false\:true\:true\:true
NVIC.TIM1_UP_TIM16_IRQn=true\:0\:0\:false\:true\:false\:2\:true\:true
NVIC.TIM6_DAC_IRQn=true\:5\:1\:true\:false\:true\:true\:true
NVIC.TIM7_IRQn=true\:5\:1\:true\:false\:true\:true\:true
NVIC.USART1_IRQn=true\:3\:1\:true\:true\:false\:4\:true\:true
PA0.GPIO_Label=M1_CURR_AMPL_U
PA0.Mode=IN1-Single-Ended
PA0.Signal=ADC1_IN1
PA1.GPIO_Label=M1_CURR_AMPL_V
PA1.Mode=IN2-Single-Ended
PA1.Signal=ADC1_IN2
PA10.GPIO_Label=M1_PWM_WH
PA10.GPIO_PuPd=GPIO_PULLDOWN
PA10.GPIO_Speed=GPIO_SPEED_FREQ_HIGH
PA10.Signal=S_TIM1_CH3
PA11.GPIO_Label=M1_PWM_UL
PA11.GPIO_PuPd=GPIO_PULLUP
PA11.GPIO_Speed=GPIO_SPEED_FREQ_HIGH
PA11.Mode=PWM Generation1 CH1 CH1N
PA11.Signal=TIM1_CH1N
PA12.GPIO_Label=M1_PWM_VL
PA12.GPIO_PuPd=GPIO_PULLUP
PA12.GPIO_Speed=GPIO_SPEED_FREQ_HIGH
PA12.Mode=PWM Generation2 CH2 CH2N
PA12.Signal=TIM1_CH2N
PA2.GPIO_Label=M1_CURR_AMPL_W
PA2.Mode=IN3-Single-Ended
PA2.Signal=ADC1_IN3
PA3.GPIO_Label=M1_TEMPERATURE
PA3.Mode=IN4-Single-Ended
PA3.Signal=ADC1_IN4
PA7.GPIO_Label=M1_CURR_SHUNT_U
PA7.Mode=INP
PA7.Signal=COMP2_INP
PA8.GPIO_Label=M1_PWM_UH
PA8.GPIO_PuPd=GPIO_PULLDOWN
PA8.GPIO_Speed=GPIO_SPEED_FREQ_HIGH
PA8.Signal=S_TIM1_CH1
PA9.GPIO_Label=M1_PWM_VH
PA9.GPIO_PuPd=GPIO_PULLDOWN
PA9.GPIO_Speed=GPIO_SPEED_FREQ_HIGH
PA9.Signal=S_TIM1_CH2
PB0.GPIO_Label=M1_CURR_SHUNT_V
PB0.Mode=INP
PB0.Signal=COMP4_INP
PB1.GPIO_Label=M1_PWM_WL
PB1.GPIO_PuPd=GPIO_PULLUP
PB1.GPIO_Speed=GPIO_SPEED_FREQ_HIGH
PB1.Mode=PWM Generation3 CH3 CH3N
PB1.Signal=TIM1_CH3N
PB11.GPIO_Label=M1_CURR_SHUNT_W
PB11.Mode=INP
PB11.Signal=COMP6_INP
PB13.GPIO_Label=M1_BUS_VOLTAGE
PB13.Mode=IN5-Single-Ended
PB13.Signal=ADC3_IN5
PB6.GPIO_Label=UART_TX
PB6.GPIO_Mode=GPIO_MODE_AF_PP
PB6.GPIO_PuPd=GPIO_NOPULL
PB6.GPIO_Speed=GPIO_SPEED_FREQ_LOW
PB6.Mode=Asynchronous
PB6.Signal=USART1_TX
PB7.GPIO_Label=UART_RX
PB7.GPIO_Mode=GPIO_MODE_AF_PP
PB7.GPIO_PuPd=GPIO_NOPULL
PB7.GPIO_Speed=GPIO_SPEED_FREQ_LOW
PB7.Mode=Asynchronous
PB7.Signal=USART1_RX
PF0-OSC_IN.Mode=HSE-External-Oscillator
PF0-OSC_IN.Signal=RCC_OSC_IN
PF1-OSC_OUT.Mode=HSE-External-Oscillator
PF1-OSC_OUT.Signal=RCC_OSC_OUT
ProjectManager.HeapSize=0x200
ProjectManager.StackSize=0x400
ProjectManager.TargetToolchain=STM32CubeIDE
RCC.AHBFreq_Value=72000000
RCC.APB1CLKDivider=RCC_HCLK_DIV2
RCC.APB1Freq_Value=36000000
RCC.APB1TimFreq_Value=72000000
RCC.APB2Freq_Value=72000000
RCC.APB2TimFreq_Value=72000000
RCC.CortexFreq_Value=72000000
RCC.HCLKFreq_Value=72000000
RCC.HSE_VALUE=8000000
RCC.HSI_VALUE=8000000
RCC.LSE_VALUE=32768
RCC.PLLMUL=RCC_PLL_MUL9
RCC.PLLSourceVirtual=RCC_PLLSOURCE_HSE
RCC.SYSCLKFreq_VALUE=72000000
RCC.SYSCLKSourceVirtual=RCC_SYSCLKSOURCE_PLLCLK
RCC.TIM1Selection=RCC_TIM1CLK_PLLCLK
RCC.TIM8Selection=RCC_TIM8CLK_PLLCLK
RCC.USBFreq_Value=72000000
SH.S_TIM1_CH1.0=TIM1_CH1,PWM Generation1 CH1 CH1N
SH.S_TIM1_CH2.0=TIM1_CH2,PWM Generation2 CH2 CH2N
SH.S_TIM1_CH3.0=TIM1_CH3,PWM Generation3 CH3 CH3N
TIM1.AutoReloadPreload=TIM_AUTORELOAD_PRELOAD_DISABLE
TIM1.AutomaticOutput=TIM_AUTOMATICOUTPUT_DISABLE
TIM1.Break2Filter=3
TIM1.Break2Polarity=TIM_BREAK2POLARITY_HIGH
TIM1.Break2State=TIM_BREAK2_ENABLE
TIM1.BreakFilter=0
TIM1.BreakPolarity=TIM_BREAKPOLARITY_HIGH
TIM1.BreakState=TIM_BREAK_DISABLE
TIM1.Channel=TIM_CHANNEL_4
TIM1.Channel-PWM\ Generation1\ CH1\ CH1N=TIM_CHANNEL_1
TIM1.Channel-PWM\ Generation2\ CH2\ CH2N=TIM_CHANNEL_2
TIM1.Channel-PWM\ Generation3\ CH3\ CH3N=TIM_CHANNEL_3
TIM1.Channel-PWM\ Generation4\ No\ Output=TIM_CHANNEL_4
TIM1.ClearInputSource=TIM_CLEARINPUTSOURCE_NONE
TIM1.ClockDivision=TIM_CLOCKDIVISION_DIV2
TIM1.CounterMode=TIM_COUNTERMODE_CENTERALIGNED1
TIM1.DeadTime=((DEAD_TIME_COUNTS) / 2)
TIM1.LockLevel=TIM_LOCKLEVEL_1
TIM1.OCFastMode_PWM=TIM_OCFAST_DISABLE
TIM1.OCIdleState_1=TIM_OCIDLESTATE_RESET
TIM1.OCIdleState_2=TIM_OCIDLESTATE_RESET
TIM1.OCIdleState_3=TIM_OCIDLESTATE_RESET
TIM1.OCIdleState_4=TIM_OCIDLESTATE_RESET
TIM1.OCIdleState_5=TIM_OCIDLESTATE_RESET
TIM1.OCIdleState_6=TIM_OCIDLESTATE_RESET
TIM1.OCMode_PWM-PWM\ Generation1\ CH1\ CH1N=TIM_OCMODE_PWM1
TIM1.OCMode_PWM-PWM\ Generation2\ CH2\ CH2N=TIM_OCMODE_PWM1
TIM1.OCMode_PWM-PWM\ Generation3\ CH3\ CH3N=TIM_OCMODE_PWM1
TIM1.OCMode_PWM-PWM\ Generation4\ No\ Output=TIM_OCMODE_PWM2
TIM1.OCNIdleState_1=TIM_OCNIDLESTATE_SET
TIM1.OCNIdleState_2=TIM_OCNIDLESTATE_SET
TIM1.OCNIdleState_3=TIM_OCNIDLESTATE_SET
TIM1.OCNPolarity_1=TIM_OCNPOLARITY_LOW
TIM1.OCNPolarity_2=TIM_OCNPOLARITY_LOW
TIM1.OCNPolarity_3=TIM_OCNPOLARITY_LOW
TIM1.OCPolarity_1=TIM_OCPOLARITY_HIGH
TIM1.OCPolarity_2=TIM_OCPOLARITY_HIGH
TIM1.OCPolarity_3=TIM_OCPOLARITY_HIGH
TIM1.OCPolarity_4=TIM_OCPOLARITY_HIGH
TIM1.OCPolarity_5=TIM_OCPOLARITY_HIGH
TIM1.OCPolarity_6=TIM_OCPOLARITY_HIGH
TIM1.OffStateIDLEMode=TIM_OSSI_ENABLE
TIM1.OffStateRunMode=TIM_OSSR_ENABLE
TIM1.Period=((PWM_PERIOD_CYCLES) / 2)
TIM1.Prescaler=((TIM_CLOCK_DIVIDER) - 1)
TIM1.Pulse-PWM\ Generation1\ CH1=((PWM_PERIOD_CYCLES) / 4)
TIM1.Pulse-PWM\ Generation2\ CH2=((PWM_PERIOD_CYCLES) / 4)
TIM1.Pulse-PWM\ Generation3\ CH3=((PWM_PERIOD_CYCLES) / 4)
TIM1.Pulse-PWM\ Generation4\ No\ Output=(((PWM_PERIOD_CYCLES) / 2) - (HTMIN))
TIM1.Pulse-PWM\ Generation5\ No\ Output=(((PWM_PERIOD_CYCLES) / 2) + 1)
TIM1.Pulse-PWM\ Generation6\ No\ Output=(((PWM_PERIOD_CYCLES) / 2) + 1)
TIM1.RepetitionCounter=(REP_COUNTER)
TIM1.TIM_MasterOutputTrigger=TIM_TRGO_OC4REF
TIM1.TIM_MasterOutputTrigger2=TIM_TRGO2_RESET
TIM1.TIM_MasterSlaveMode=TIM_MASTERSLAVEMODE_DISABLE
TIM1.TIM_SlaveMode=TIM_SLAVEMODE_TRIGGER
TIM6.Period=9999
TIM6.Prescaler=7199
TIM7.Period=9999
TIM7.Prescaler=7199
USART1.BaudRate=115200
USART1.VirtualMode-Asynchronous=VM_ASYNC
USART1.WordLength=WORDLENGTH_8B
VP_COMP2_VS_VREFINT12.Mode=VREFINT_12
VP_COMP4_VS_VREFINT12.Mode=VREFINT_12
VP_COMP6_VS_VREFINT12.Mode=VREFINT_12
VP_MotorControl_MC_ENABLED.Mode=Enabled
VP_TIM1_VS_ClockSourceITR.Mode=TriggerSource_ITR1
VP_TIM1_VS_ControllerModeTrigger.Mode=Trigger Mode
VP_TIM1_VS_no_output4.Mode=PWM Generation4 No Output
VP_TIM6_VS_ClockSourceINT.Mode=Enable_Timer
VP_TIM7_VS_ClockSourceINT.Mode=Enable_Timer
board=custom

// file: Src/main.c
/* USER CODE BEGIN Header */
/**
  ******************************************************************************
  * @file           : main.c
  * @brief          : Main program body
  ******************************************************************************
  * @attention
  *
  * <h2><center>&copy; Copyright (c) 2020 STMicroelectronics.
  * All rights reserved.</center></h2>
  *
  * This software component is licensed by ST under Ultimate Liberty license
  * SLA0044, the "License"; You may not use this file except in compliance with
  * the License. You may obtain a copy of the License at:
  *                             www.st.com/SLA0044
  *
  ******************************************************************************
  */
/* USER CODE END Header */

#include "main.h"
#include "motorcontrol.h"

/* USER CODE BEGIN Includes */

#include <stdio.h>
#include <string.h>
#include <math.h>

/* USER CODE END Includes */

ADC_HandleTypeDef hadc1;
ADC_HandleTypeDef hadc3;

COMP_HandleTypeDef hcomp2;
COMP_HandleTypeDef hcomp4;
COMP_HandleTypeDef hcomp6;

TIM_HandleTypeDef htim1;
TIM_HandleTypeDef htim6;
TIM_HandleTypeDef htim7;

UART_HandleTypeDef huart1;

/* USER CODE BEGIN PV */

enum{
	motor_ok,
	motor_error
}fault_motor_status_t;

char uart1_msg[200];

volatile int16_t speed_from_sensor;
volatile int16_t set_speed;
volatile int16_t fault_flag;

/* USER CODE END PV */

void SystemClock_Config(void);
static void MX_GPIO_Init(void);
static void MX_ADC1_Init(void);
static void MX_ADC3_Init(void);
static void MX_COMP2_Init(void);
static void MX_COMP4_Init(void);
static void MX_COMP6_Init(void);
static void MX_TIM1_Init(void);
static void MX_TIM6_Init(void);
static void MX_TIM7_Init(void);
static void MX_USART1_UART_Init(void);
static void MX_NVIC_Init(void);

/* USER CODE BEGIN 0 */

void HAL_TIM_PeriodElapsedCallback(TIM_HandleTypeDef *htim){

	if(htim->Instance == TIM6){

		  speed_from_sensor = MC_GetMecSpeedAverageMotor1();

	}else if(htim->Instance == TIM7){

		fault_flag = MC_GetOccurredFaultsMotor1();

		if(fault_flag != 0){
			MC_AcknowledgeFaultMotor1();
		}

		MC_ProgramSpeedRampMotor1(set_speed, 100);
		MC_StartMotor1();

	}

}

/* USER CODE END 0 */

int main(void)
{

  /* MCU Configuration--------------------------------------------------------*/

  /* Reset of all peripherals, Initializes the Flash interface and the Systick. */
  HAL_Init();

  /* Configure the system clock */
  SystemClock_Config();

  /* Initialize all configured peripherals */
  MX_GPIO_Init();
  MX_ADC1_Init();
  MX_ADC3_Init();
  MX_COMP2_Init();
  MX_COMP4_Init();
  MX_COMP6_Init();
  MX_TIM1_Init();
  MX_TIM6_Init();
  MX_TIM7_Init();
  MX_USART1_UART_Init();
  MX_MotorControl_Init();

  /* Initialize interrupts */
  MX_NVIC_Init();
  /* USER CODE BEGIN 2 */

  fault_flag = motor_ok;

  set_speed = 200;

  HAL_TIM_Base_Start_IT(&htim6);
  HAL_TIM_Base_Start_IT(&htim7);

  HAL_Delay(10000);

  set_speed = -200;

  HAL_Delay(10000);

  set_speed = 500;

  /* USER CODE END 2 */

  /* Infinite loop */
  /* USER CODE BEGIN WHILE */
  while (1)
  {

	  sprintf(uart1_msg, "Motor speed: %d %d\r\n", speed_from_sensor, fault_flag);
	  HAL_UART_Transmit(&huart1, (uint8_t*) uart1_msg, strlen(uart1_msg), HAL_MAX_DELAY);

	  HAL_Delay(1000);

    /* USER CODE END WHILE */

  }
}

void SystemClock_Config(void)
{
  RCC_OscInitTypeDef RCC_OscInitStruct = {0};
  RCC_ClkInitTypeDef RCC_ClkInitStruct = {0};
  RCC_PeriphCLKInitTypeDef PeriphClkInit = {0};

  /** Initializes the CPU, AHB and APB busses clocks
  */
  RCC_OscInitStruct.OscillatorType = RCC_OSCILLATORTYPE_HSE;
  RCC_OscInitStruct.HSEState = RCC_HSE_ON;
  RCC_OscInitStruct.HSEPredivValue = RCC_HSE_PREDIV_DIV1;
  RCC_OscInitStruct.HSIState = RCC_HSI_ON;
  RCC_OscInitStruct.PLL.PLLState = RCC_PLL_ON;
  RCC_OscInitStruct.PLL.PLLSource = RCC_PLLSOURCE_HSE;
  RCC_OscInitStruct.PLL.PLLMUL = RCC_PLL_MUL9;
  if (HAL_RCC_OscConfig(&RCC_OscInitStruct) != HAL_OK)
  {
    Error_Handler();
  }
  /** Initializes the CPU, AHB and APB busses clocks
  */
  RCC_ClkInitStruct.ClockType = RCC_CLOCKTYPE_HCLK|RCC_CLOCKTYPE_SYSCLK
                              |RCC_CLOCKTYPE_PCLK1|RCC_CLOCKTYPE_PCLK2;
  RCC_ClkInitStruct.SYSCLKSource = RCC_SYSCLKSOURCE_PLLCLK;
  RCC_ClkInitStruct.AHBCLKDivider = RCC_SYSCLK_DIV1;
  RCC_ClkInitStruct.APB1CLKDivider = RCC_HCLK_DIV2;
  RCC_ClkInitStruct.APB2CLKDivider = RCC_HCLK_DIV1;

  if (HAL_RCC_ClockConfig(&RCC_ClkInitStruct, FLASH_LATENCY_2) != HAL_OK)
  {
    Error_Handler();
  }
  PeriphClkInit.PeriphClockSelection = RCC_PERIPHCLK_USART1|RCC_PERIPHCLK_TIM1;
  PeriphClkInit.Usart1ClockSelection = RCC_USART1CLKSOURCE_PCLK2;
  PeriphClkInit.Tim1ClockSelection = RCC_TIM1CLK_PLLCLK;
  if (HAL_RCCEx_PeriphCLKConfig(&PeriphClkInit) != HAL_OK)
  {
    Error_Handler();
  }
}

/**
  * @brief NVIC Configuration.
  * @retval None
  */
static void MX_NVIC_Init(void)
{
  /* TIM1_BRK_TIM15_IRQn interrupt configuration */
  HAL_NVIC_SetPriority(TIM1_BRK_TIM15_IRQn, 4, 1);
  HAL_NVIC_EnableIRQ(TIM1_BRK_TIM15_IRQn);
  /* TIM1_UP_TIM16_IRQn interrupt configuration */
  HAL_NVIC_SetPriority(TIM1_UP_TIM16_IRQn, 0, 0);
  HAL_NVIC_EnableIRQ(TIM1_UP_TIM16_IRQn);
  /* ADC1_2_IRQn interrupt configuration */
  HAL_NVIC_SetPriority(ADC1_2_IRQn, 2, 0);
  HAL_NVIC_EnableIRQ(ADC1_2_IRQn);
  /* USART1_IRQn interrupt configuration */
  HAL_NVIC_SetPriority(USART1_IRQn, 3, 1);
  HAL_NVIC_EnableIRQ(USART1_IRQn);
}

static void MX_ADC1_Init(void)
{

  ADC_MultiModeTypeDef multimode = {0};
  ADC_InjectionConfTypeDef sConfigInjected = {0};
  ADC_ChannelConfTypeDef sConfig = {0};

  /** Common config
  */
  hadc1.Instance = ADC1;
  hadc1.Init.ClockPrescaler = ADC_CLOCK_SYNC_PCLK_DIV1;
  hadc1.Init.Resolution = ADC_RESOLUTION_12B;
  hadc1.Init.ScanConvMode = ADC_SCAN_ENABLE;
  hadc1.Init.ContinuousConvMode = DISABLE;
  hadc1.Init.DiscontinuousConvMode = DISABLE;
  hadc1.Init.ExternalTrigConvEdge = ADC_EXTERNALTRIGCONVEDGE_NONE;
  hadc1.Init.ExternalTrigConv = ADC_SOFTWARE_START;
  hadc1.Init.DataAlign = ADC_DATAALIGN_LEFT;
  hadc1.Init.NbrOfConversion = 1;
  hadc1.Init.DMAContinuousRequests = DISABLE;
  hadc1.Init.EOCSelection = ADC_EOC_SINGLE_CONV;
  hadc1.Init.LowPowerAutoWait = DISABLE;
  hadc1.Init.Overrun = ADC_OVR_DATA_PRESERVED;
  if (HAL_ADC_Init(&hadc1) != HAL_OK)
  {
    Error_Handler();
  }
  /** Configure the ADC multi-mode
  */
  multimode.Mode = ADC_MODE_INDEPENDENT;
  if (HAL_ADCEx_MultiModeConfigChannel(&hadc1, &multimode) != HAL_OK)
  {
    Error_Handler();
  }
  /** Configure Injected Channel
  */
  sConfigInjected.InjectedChannel = ADC_CHANNEL_1;
  sConfigInjected.InjectedRank = ADC_INJECTED_RANK_1;
  sConfigInjected.InjectedSingleDiff = ADC_SINGLE_ENDED;
  sConfigInjected.InjectedNbrOfConversion = 3;
  sConfigInjected.InjectedSamplingTime = ADC_SAMPLETIME_7CYCLES_5;
  sConfigInjected.ExternalTrigInjecConvEdge = ADC_EXTERNALTRIGINJECCONV_EDGE_RISING;
  sConfigInjected.ExternalTrigInjecConv = ADC_EXTERNALTRIGINJECCONV_T1_TRGO;
  sConfigInjected.AutoInjectedConv = DISABLE;
  sConfigInjected.InjectedDiscontinuousConvMode = DISABLE;
  sConfigInjected.QueueInjectedContext = ENABLE;
  sConfigInjected.InjectedOffset = 0;
  sConfigInjected.InjectedOffsetNumber = ADC_OFFSET_NONE;
  if (HAL_ADCEx_InjectedConfigChannel(&hadc1, &sConfigInjected) != HAL_OK)
  {
    Error_Handler();
  }
  /** Configure Injected Channel
  */
  sConfigInjected.InjectedChannel = ADC_CHANNEL_2;
  sConfigInjected.InjectedRank = ADC_INJECTED_RANK_2;
  if (HAL_ADCEx_InjectedConfigChannel(&hadc1, &sConfigInjected) != HAL_OK)
  {
    Error_Handler();
  }
  /** Configure Injected Channel
  */
  sConfigInjected.InjectedChannel = ADC_CHANNEL_3;
  sConfigInjected.InjectedRank = ADC_INJECTED_RANK_3;
  if (HAL_ADCEx_InjectedConfigChannel(&hadc1, &sConfigInjected) != HAL_OK)
  {
    Error_Handler();
  }
  /** Configure Regular Channel
  */
  sConfig.Channel = ADC_CHANNEL_4;
  sConfig.Rank = ADC_REGULAR_RANK_1;
  sConfig.SingleDiff = ADC_SINGLE_ENDED;
  sConfig.SamplingTime = ADC_SAMPLETIME_19CYCLES_5;
  sConfig.OffsetNumber = ADC_OFFSET_NONE;
  sConfig.Offset = 0;
  if (HAL_ADC_ConfigChannel(&hadc1, &sConfig) != HAL_OK)
  {
    Error_Handler();
  }

}

static void MX_ADC3_Init(void)
{

  ADC_MultiModeTypeDef multimode = {0};
  ADC_ChannelConfTypeDef sConfig = {0};

  /** Common config
  */
  hadc3.Instance = ADC3;
  hadc3.Init.ClockPrescaler = ADC_CLOCK_SYNC_PCLK_DIV1;
  hadc3.Init.Resolution = ADC_RESOLUTION_12B;
  hadc3.Init.ScanConvMode = ADC_SCAN_DISABLE;
  hadc3.Init.ContinuousConvMode = DISABLE;
  hadc3.Init.DiscontinuousConvMode = DISABLE;
  hadc3.Init.ExternalTrigConvEdge = ADC_EXTERNALTRIGCONVEDGE_NONE;
  hadc3.Init.ExternalTrigConv = ADC_SOFTWARE_START;
  hadc3.Init.DataAlign = ADC_DATAALIGN_LEFT;
  hadc3.Init.NbrOfConversion = 1;
  hadc3.Init.DMAContinuousRequests = DISABLE;
  hadc3.Init.EOCSelection = ADC_EOC_SINGLE_CONV;
  hadc3.Init.LowPowerAutoWait = DISABLE;
  hadc3.Init.Overrun = ADC_OVR_DATA_PRESERVED;
  if (HAL_ADC_Init(&hadc3) != HAL_OK)
  {
    Error_Handler();
  }
  /** Configure the ADC multi-mode
  */
  multimode.Mode = ADC_MODE_INDEPENDENT;
  if (HAL_ADCEx_MultiModeConfigChannel(&hadc3, &multimode) != HAL_OK)
  {
    Error_Handler();
  }
  /** Configure Regular Channel
  */
  sConfig.Channel = ADC_CHANNEL_5;
  sConfig.Rank = ADC_REGULAR_RANK_1;
  sConfig.SingleDiff = ADC_SINGLE_ENDED;
  sConfig.SamplingTime = ADC_SAMPLETIME_19CYCLES_5;
  sConfig.OffsetNumber = ADC_OFFSET_NONE;
  sConfig.Offset = 0;
  if (HAL_ADC_ConfigChannel(&hadc3, &sConfig) != HAL_OK)
  {
    Error_Handler();
  }

}

static void MX_COMP2_Init(void)
{

  hcomp2.Instance = COMP2;
  hcomp2.Init.InvertingInput = COMP_INVERTINGINPUT_1_2VREFINT;
  hcomp2.Init.NonInvertingInput = COMP_NONINVERTINGINPUT_IO1;
  hcomp2.Init.Output = COMP_OUTPUT_TIM1BKIN2;
  hcomp2.Init.OutputPol = COMP_OUTPUTPOL_NONINVERTED;
  hcomp2.Init.Hysteresis = COMP_HYSTERESIS_NONE;
  hcomp2.Init.BlankingSrce = COMP_BLANKINGSRCE_NONE;
  hcomp2.Init.Mode = COMP_MODE_HIGHSPEED;
  hcomp2.Init.WindowMode = COMP_WINDOWMODE_DISABLE;
  hcomp2.Init.TriggerMode = COMP_TRIGGERMODE_NONE;
  if (HAL_COMP_Init(&hcomp2) != HAL_OK)
  {
    Error_Handler();
  }

}

static void MX_COMP4_Init(void)
{

  hcomp4.Instance = COMP4;
  hcomp4.Init.InvertingInput = COMP_INVERTINGINPUT_1_2VREFINT;
  hcomp4.Init.NonInvertingInput = COMP_NONINVERTINGINPUT_IO1;
  hcomp4.Init.Output = COMP_OUTPUT_TIM1BKIN2;
  hcomp4.Init.OutputPol = COMP_OUTPUTPOL_NONINVERTED;
  hcomp4.Init.Hysteresis = COMP_HYSTERESIS_NONE;
  hcomp4.Init.BlankingSrce = COMP_BLANKINGSRCE_NONE;
  hcomp4.Init.Mode = COMP_MODE_HIGHSPEED;
  hcomp4.Init.WindowMode = COMP_WINDOWMODE_DISABLE;
  hcomp4.Init.TriggerMode = COMP_TRIGGERMODE_NONE;
  if (HAL_COMP_Init(&hcomp4) != HAL_OK)
  {
    Error_Handler();
  }

}

static void MX_COMP6_Init(void)
{

  hcomp6.Instance = COMP6;
  hcomp6.Init.InvertingInput = COMP_INVERTINGINPUT_1_2VREFINT;
  hcomp6.Init.NonInvertingInput = COMP_NONINVERTINGINPUT_IO2;
  hcomp6.Init.Output = COMP_OUTPUT_TIM1BKIN2;
  hcomp6.Init.OutputPol = COMP_OUTPUTPOL_NONINVERTED;
  hcomp6.Init.Hysteresis = COMP_HYSTERESIS_NONE;
  hcomp6.Init.BlankingSrce = COMP_BLANKINGSRCE_NONE;
  hcomp6.Init.Mode = COMP_MODE_HIGHSPEED;
  hcomp6.Init.WindowMode = COMP_WINDOWMODE_DISABLE;
  hcomp6.Init.TriggerMode = COMP_TRIGGERMODE_NONE;
  if (HAL_COMP_Init(&hcomp6) != HAL_OK)
  {
    Error_Handler();
  }

}

static void MX_TIM1_Init(void)
{

  TIM_SlaveConfigTypeDef sSlaveConfig = {0};
  TIM_MasterConfigTypeDef sMasterConfig = {0};
  TIM_OC_InitTypeDef sConfigOC = {0};
  TIM_BreakDeadTimeConfigTypeDef sBreakDeadTimeConfig = {0};

  htim1.Instance = TIM1;
  htim1.Init.Prescaler = ((TIM_CLOCK_DIVIDER) - 1);
  htim1.Init.CounterMode = TIM_COUNTERMODE_CENTERALIGNED1;
  htim1.Init.Period = ((PWM_PERIOD_CYCLES) / 2);
  htim1.Init.ClockDivision = TIM_CLOCKDIVISION_DIV2;
  htim1.Init.RepetitionCounter = (REP_COUNTER);
  htim1.Init.AutoReloadPreload = TIM_AUTORELOAD_PRELOAD_DISABLE;
  if (HAL_TIM_Base_Init(&htim1) != HAL_OK)
  {
    Error_Handler();
  }
  if (HAL_TIM_PWM_Init(&htim1) != HAL_OK)
  {
    Error_Handler();
  }
  sSlaveConfig.SlaveMode = TIM_SLAVEMODE_TRIGGER;
  sSlaveConfig.InputTrigger = TIM_TS_ITR1;
  if (HAL_TIM_SlaveConfigSynchro(&htim1, &sSlaveConfig) != HAL_OK)
  {
    Error_Handler();
  }
  sMasterConfig.MasterOutputTrigger = TIM_TRGO_OC4REF;
  sMasterConfig.MasterOutputTrigger2 = TIM_TRGO2_RESET;
  sMasterConfig.MasterSlaveMode = TIM_MASTERSLAVEMODE_DISABLE;
  if (HAL_TIMEx_MasterConfigSynchronization(&htim1, &sMasterConfig) != HAL_OK)
  {
    Error_Handler();
  }
  sConfigOC.OCMode = TIM_OCMODE_PWM1;
  sConfigOC.Pulse = 0;
  sConfigOC.OCPolarity = TIM_OCPOLARITY_HIGH;
  sConfigOC.OCNPolarity = TIM_OCNPOLARITY_LOW;
  sConfigOC.OCFastMode = TIM_OCFAST_DISABLE;
  sConfigOC.OCIdleState = TIM_OCIDLESTATE_RESET;
  sConfigOC.OCNIdleState = TIM_OCNIDLESTATE_SET;
  if (HAL_TIM_PWM_ConfigChannel(&htim1, &sConfigOC, TIM_CHANNEL_1) != HAL_OK)
  {
    Error_Handler();
  }
  if (HAL_TIM_PWM_ConfigChannel(&htim1, &sConfigOC, TIM_CHANNEL_2) != HAL_OK)
  {
    Error_Handler();
  }
  if (HAL_TIM_PWM_ConfigChannel(&htim1, &sConfigOC, TIM_CHANNEL_3) != HAL_OK)
  {
    Error_Handler();
  }
  sConfigOC.OCMode = TIM_OCMODE_PWM2;
  sConfigOC.Pulse = (((PWM_PERIOD_CYCLES) / 2) - (HTMIN));
  sConfigOC.OCNIdleState = TIM_OCNIDLESTATE_RESET;
  if (HAL_TIM_PWM_ConfigChannel(&htim1, &sConfigOC, TIM_CHANNEL_4) != HAL_OK)
  {
    Error_Handler();
  }
  sBreakDeadTimeConfig.OffStateRunMode = TIM_OSSR_ENABLE;
  sBreakDeadTimeConfig.OffStateIDLEMode = TIM_OSSI_ENABLE;
  sBreakDeadTimeConfig.LockLevel = TIM_LOCKLEVEL_1;
  sBreakDeadTimeConfig.DeadTime = ((DEAD_TIME_COUNTS) / 2);
  sBreakDeadTimeConfig.BreakState = TIM_BREAK_DISABLE;
  sBreakDeadTimeConfig.BreakPolarity = TIM_BREAKPOLARITY_HIGH;
  sBreakDeadTimeConfig.BreakFilter = 0;
  sBreakDeadTimeConfig.Break2State = TIM_BREAK2_ENABLE;
  sBreakDeadTimeConfig.Break2Polarity = TIM_BREAK2POLARITY_HIGH;
  sBreakDeadTimeConfig.Break2Filter = 3;
  sBreakDeadTimeConfig.AutomaticOutput = TIM_AUTOMATICOUTPUT_DISABLE;
  if (HAL_TIMEx_ConfigBreakDeadTime(&htim1, &sBreakDeadTimeConfig) != HAL_OK)
  {
    Error_Handler();
  }
  HAL_TIM_MspPostInit(&htim1);

}

static void MX_TIM6_Init(void)
{

  TIM_MasterConfigTypeDef sMasterConfig = {0};

  htim6.Instance = TIM6;
  htim6.Init.Prescaler = 7199;
  htim6.Init.CounterMode = TIM_COUNTERMODE_UP;
  htim6.Init.Period = 9999;
  htim6.Init.AutoReloadPreload = TIM_AUTORELOAD_PRELOAD_DISABLE;
  if (HAL_TIM_Base_Init(&htim6) != HAL_OK)
  {
    Error_Handler();
  }
  sMasterConfig.MasterOutputTrigger = TIM_TRGO_RESET;
  sMasterConfig.MasterSlaveMode = TIM_MASTERSLAVEMODE_DISABLE;
  if (HAL_TIMEx_MasterConfigSynchronization(&htim6, &sMasterConfig) != HAL_OK)
  {
    Error_Handler();
  }

}

static void MX_TIM7_Init(void)
{

  TIM_MasterConfigTypeDef sMasterConfig = {0};

  htim7.Instance = TIM7;
  htim7.Init.Prescaler = 7199;
  htim7.Init.CounterMode = TIM_COUNTERMODE_UP;
  htim7.Init.Period = 9999;
  htim7.Init.AutoReloadPreload = TIM_AUTORELOAD_PRELOAD_DISABLE;
  if (HAL_TIM_Base_Init(&htim7) != HAL_OK)
  {
    Error_Handler();
  }
  sMasterConfig.MasterOutputTrigger = TIM_TRGO_RESET;
  sMasterConfig.MasterSlaveMode = TIM_MASTERSLAVEMODE_DISABLE;
  if (HAL_TIMEx_MasterConfigSynchronization(&htim7, &sMasterConfig) != HAL_OK)
  {
    Error_Handler();
  }

}

static void MX_USART1_UART_Init(void)
{

  huart1.Instance = USART1;
  huart1.Init.BaudRate = 115200;
  huart1.Init.WordLength = UART_WORDLENGTH_8B;
  huart1.Init.StopBits = UART_STOPBITS_1;
  huart1.Init.Parity = UART_PARITY_NONE;
  huart1.Init.Mode = UART_MODE_TX_RX;
  huart1.Init.HwFlowCtl = UART_HWCONTROL_NONE;
  huart1.Init.OverSampling = UART_OVERSAMPLING_16;
  huart1.Init.OneBitSampling = UART_ONE_BIT_SAMPLE_DISABLE;
  huart1.AdvancedInit.AdvFeatureInit = UART_ADVFEATURE_NO_INIT;
  if (HAL_UART_Init(&huart1) != HAL_OK)
  {
    Error_Handler();
  }

}

static void MX_GPIO_Init(void)
{

  /* GPIO Ports Clock Enable */
  __HAL_RCC_GPIOF_CLK_ENABLE();
  __HAL_RCC_GPIOA_CLK_ENABLE();
  __HAL_RCC_GPIOB_CLK_ENABLE();

}

void Error_Handler(void)
{
}

/************************ (C) COPYRIGHT STMicroelectronics *****END OF FILE****/
